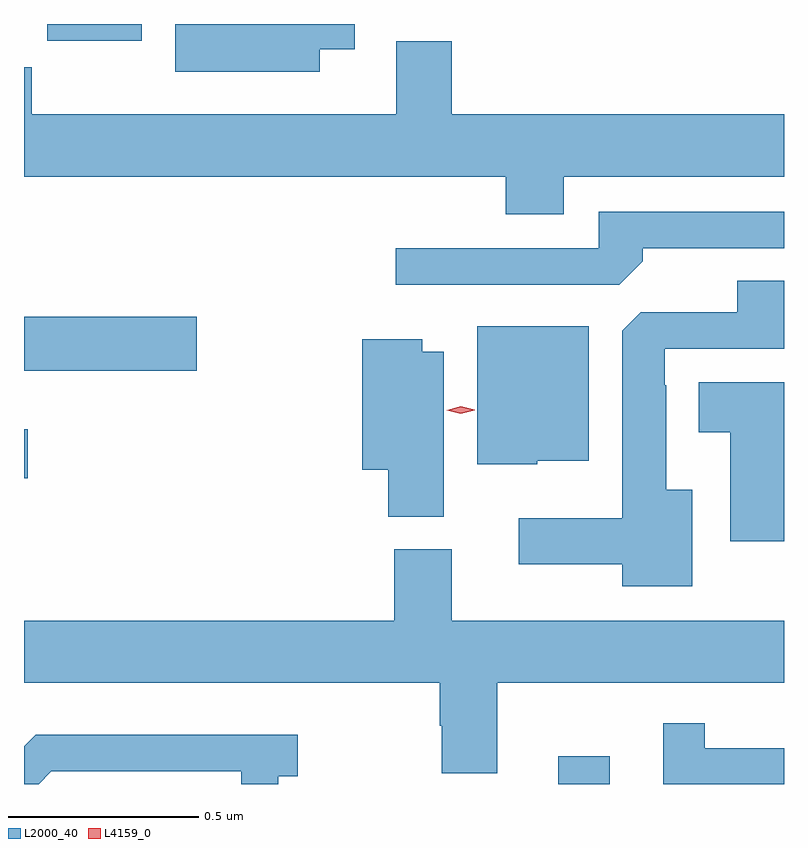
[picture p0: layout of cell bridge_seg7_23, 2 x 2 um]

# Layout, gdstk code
import gdstk
lib = gdstk.Library(unit=1e-6, precision=1e-09)
def R(c, l, rs):  # rectangles x0, y0, x1, y1
    for r in rs: c.add(gdstk.rectangle(r[:2], r[2:], *l))
def P(c, l, *ps):  # polygons
    for p in ps: c.add(gdstk.Polygon(p, *l))
L2000_40 = (2000, 40)
L4159_0 = (4159, 0)

bridge_seg7_23 = lib.new_cell('bridge_seg7_23')
R(bridge_seg7_23, L2000_40, [(1048.469,1049.634,1048.605,1049.707), (1047.063,1050.439,1047.073,1050.568), (1047.063,1050.722,1047.517,1050.864), (1047.124,1051.59,1047.373,1051.634)])
P(bridge_seg7_23, L2000_40, [(1047.841,1051.568),(1047.934,1051.568),(1047.934,1051.634),(1047.461,1051.634),(1047.461,1051.508),(1047.841,1051.508)],
  [(1048.483,1051.232),(1049.063,1051.232),(1049.063,1051.396),(1048.189,1051.396),(1048.189,1051.589),(1048.043,1051.589),(1048.043,1051.396),(1047.083,1051.396),(1047.083,1051.52),(1047.063,1051.52),(1047.063,1051.232),(1048.331,1051.232),(1048.331,1051.133),(1048.483,1051.133)],
  [(1048.691,1051.01),(1048.691,1051.044),(1049.063,1051.044),(1049.063,1051.14),(1048.575,1051.14),(1048.575,1051.044),(1048.041,1051.044),(1048.041,1050.948),(1048.629,1050.948)],
  [(1048.822,1050.409),(1048.753,1050.409),(1048.753,1050.683),(1048.749,1050.683),(1048.749,1050.78),(1049.063,1050.78),(1049.063,1050.959),(1048.94,1050.959),(1048.94,1050.876),(1048.686,1050.876),(1048.637,1050.827),(1048.637,1050.334),(1048.365,1050.334),(1048.365,1050.212),(1048.637,1050.212),(1048.637,1050.155),(1048.822,1050.155)],
  [(1048.413,1050.485),(1048.549,1050.485),(1048.549,1050.838),(1048.256,1050.838),(1048.256,1050.476),(1048.413,1050.476)],
  [(1048.168,1050.772),(1048.111,1050.772),(1048.111,1050.805),(1047.953,1050.805),(1047.953,1050.461),(1048.022,1050.461),(1048.022,1050.337),(1048.168,1050.337)],
  [(1049.063,1050.691),(1048.838,1050.691),(1048.838,1050.56),(1048.922,1050.56),(1048.922,1050.273),(1049.063,1050.273)],
  [(1048.309,1049.9),(1049.063,1049.9),(1049.063,1050.064),(1048.189,1050.064),(1048.189,1050.252),(1048.037,1050.252),(1048.037,1050.064),(1047.063,1050.064),(1047.063,1049.9),(1048.157,1049.9),(1048.157,1049.787),(1048.162,1049.787),(1048.162,1049.662),(1048.309,1049.662)],
  [(1049.063,1049.728),(1048.855,1049.728),(1048.855,1049.794),(1048.745,1049.794),(1048.745,1049.634),(1049.063,1049.634)],
  [(1047.135,1049.667),(1047.635,1049.667),(1047.635,1049.634),(1047.732,1049.634),(1047.732,1049.654),(1047.784,1049.654),(1047.784,1049.764),(1047.094,1049.764),(1047.063,1049.733),(1047.063,1049.634),(1047.102,1049.634)])
P(bridge_seg7_23, L4159_0, [(1048.212,1050.608),(1048.175,1050.618),(1048.175,1050.618),(1048.175,1050.618),(1048.212,1050.628),(1048.249,1050.619),(1048.249,1050.618),(1048.249,1050.618)])

lib.write_gds('bridge_seg7_23.gds')
